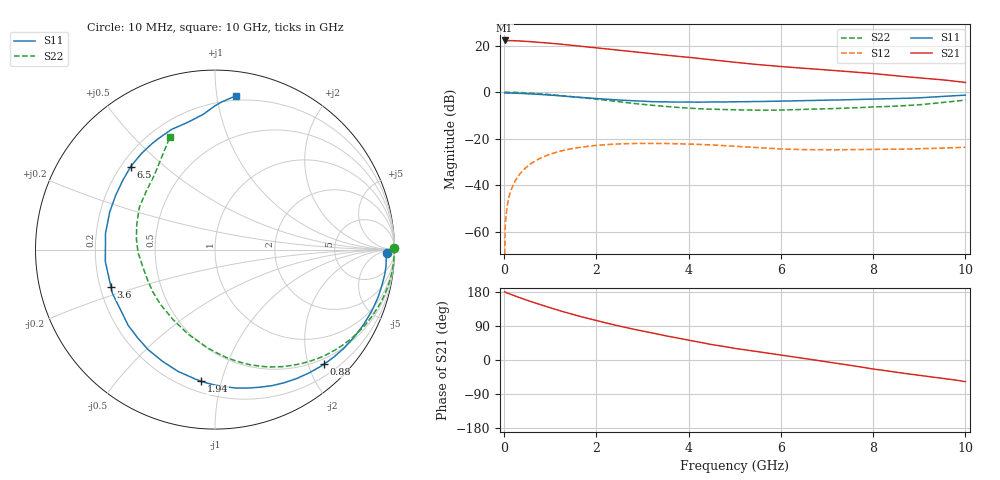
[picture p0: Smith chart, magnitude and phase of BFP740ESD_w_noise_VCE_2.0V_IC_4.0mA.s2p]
! Infineon Technologies  Discrete & RF Semiconductors
! BFP740ESD
! VCE =  2.0 V,  IC =  4.0 mA
! Common Emitter S-Parameters:  Jan 2016
# GHz  S  MA  R  50
!  f  S11  S21  S12  S22
! GHz  MAG  ANG  MAG  ANG  MAG  ANG  MAG  ANG
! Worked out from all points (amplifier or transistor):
!   233 points, 10 MHz to 10 GHz, reference 50 ohm
!   highest |S21| = 22.2 dB at 10 MHz (marker M1)
!   |S21| within 3 dB of that: start of sweep to 1.919 GHz
!   lowest NFmin = 0.51 dB at 450 MHz
!   S11 on the Smith chart (normalised r, x): 10 MHz: 38, -19; 880 MHz: 0.40, -2.27; 1.94 GHz: 0.27, -0.87; 3.6 GHz: 0.24, -0.16; 6.5 GHz: 0.24, +0.39; 10 GHz: 0.17, +1.13
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0.01  0.9586 -1.2  12.83 179.8  0 0.0  0.995 0.5
0.015  0.9582 -1.2  12.74 179.6  0.0005 88.4  0.9969 -0.2
0.025  0.9573 -1.5  12.65 179.0  0.0014 87.3  0.999 -1.0
0.07  0.9558 -4.0  12.7 176.7  0.0038 85.2  0.9984 -2.7
0.14  0.9559 -7.8  12.73 173.5  0.0074 84.8  0.9962 -5.4
0.36  0.9406 -19.5  12.47 163.6  0.0186 76.8  0.9802 -13.9
0.56  0.9195 -30.0  12.11 155.0  0.0283 69.7  0.9563 -21.2
0.88  0.8813 -46.4  11.45 142.3  0.0423 59.0  0.9092 -32.6
1.26  0.8274 -65.2  10.61 128.2  0.0557 47.3  0.8414 -45.4
1.68  0.7696 -84.6  9.627 113.9  0.0665 35.7  0.7634 -58.2
1.94  0.7375 -95.9  9.037 105.9  0.0713 29.5  0.7174 -65.6
2.6  0.6706 -123.7  7.721 86.7  0.0786 15.0  0.6051 -83.9
2.98  0.6426 -138.1  7.034 76.7  0.0797 8.1  0.551 -93.9
3.4  0.6204 -153.2  6.365 66.6  0.0794 1.5  0.5035 -104.6
3.6  0.6158 -160.2  6.088 61.7  0.079 -1.3  0.485 -109.9
4  0.6147 -173.7  5.587 52.1  0.0776 -6.7  0.4551 -120.8
4.5  0.6168 171.6  4.95 40.7  0.0741 -12.6  0.431 -134.7
5.1  0.6233 158.5  4.271 29.1  0.0682 -16.9  0.4164 -148.1
6.5  0.6593 135.4  3.252 4.0  0.0587 -18.3  0.429 -177.9
6.8  0.6666 130.6  3.087 -1.2  0.0583 -17.6  0.435 176.4
8.4  0.7224 103.2  2.291 -30.6  0.0596 -16.8  0.4972 141.8
10  0.8638 82.4  1.616 -57.0  0.066 -18.3  0.6759 111.8
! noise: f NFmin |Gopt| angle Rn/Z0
0.45  0.51  0.48  6  0.16
0.9  0.54  0.48  17  0.14
1.9  0.58  0.41  37  0.12
2.4  0.65  0.36  54  0.14
5.5  0.98  0.27  -178  0.11
10  2.13  0.64  -96  0.63
